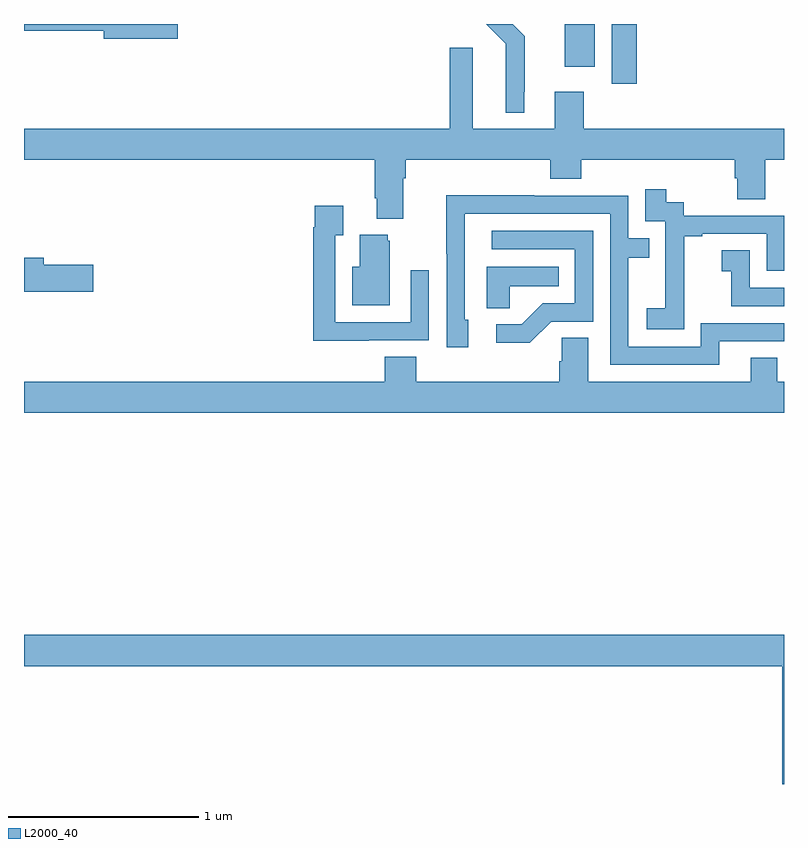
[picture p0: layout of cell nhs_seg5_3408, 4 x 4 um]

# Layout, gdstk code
import gdstk
lib = gdstk.Library(unit=1e-6, precision=1e-09)
def R(c, l, rs):  # rectangles x0, y0, x1, y1
    for r in rs: c.add(gdstk.rectangle(r[:2], r[2:], *l))
def P(c, l, *ps):  # polygons
    for p in ps: c.add(gdstk.Polygon(p, *l))
L2000_40 = (2000, 40)

nhs_seg5_3408 = lib.new_cell('nhs_seg5_3408')
R(nhs_seg5_3408, L2000_40, [(314.093,866.484,314.225,866.799), (313.847,866.574,314.005,866.799)])
P(nhs_seg5_3408, L2000_40, [(311.809,866.799),(311,866.799),(311,866.764),(311.42,866.764),(311.42,866.722),(311.809,866.722)],
  [(313.633,866.443),(313.636,866.443),(313.636,866.735),(313.572,866.799),(313.433,866.799),(313.536,866.696),(313.536,866.594),(313.535,866.594),(313.535,866.333),(313.633,866.333)],
  [(312.997,865.988),(313.01,865.988),(313.01,866.084),(313.769,866.084),(313.769,865.985),(313.934,865.985),(313.934,866.084),(314.741,866.084),(314.741,865.986),(314.753,865.986),(314.753,865.876),(314.901,865.876),(314.901,866.084),(315,866.084),(315,866.248),(313.946,866.248),(313.946,866.443),(313.793,866.443),(313.793,866.248),(313.363,866.248),(313.363,866.674),(313.241,866.674),(313.241,866.248),(311,866.248),(311,866.084),(312.845,866.084),(312.845,865.882),(312.857,865.882),(312.857,865.775),(312.997,865.775)],
  [(314.475,865.399),(314.474,865.399),(314.474,865.683),(314.569,865.683),(314.569,865.695),(314.91,865.695),(314.91,865.5),(315,865.5),(315,865.791),(314.472,865.791),(314.472,865.86),(314.38,865.86),(314.38,865.93),(314.271,865.93),(314.271,865.761),(314.376,865.761),(314.376,865.532),(314.375,865.532),(314.375,865.303),(314.277,865.303),(314.277,865.193),(314.475,865.193)],
  [(314.659,865.128),(315,865.128),(315,865.224),(314.562,865.224),(314.562,865.101),(314.181,865.101),(314.181,865.57),(314.291,865.57),(314.291,865.671),(314.181,865.671),(314.181,865.896),(313.685,865.896),(313.685,865.898),(313.222,865.898),(313.222,865.591),(313.224,865.591),(313.224,865.098),(313.339,865.098),(313.339,865.242),(313.32,865.242),(313.32,865.8),(314.085,865.8),(314.085,865.005),(314.659,865.005)],
  [(312.815,865.134),(313.131,865.134),(313.131,865.504),(313.035,865.504),(313.035,865.23),(312.639,865.23),(312.639,865.687),(312.679,865.687),(312.679,865.843),(312.531,865.843),(312.531,865.73),(312.523,865.73),(312.523,865.133),(312.815,865.133)],
  [(313.776,865.233),(313.995,865.233),(313.995,865.71),(313.461,865.71),(313.461,865.614),(313.899,865.614),(313.899,865.329),(313.73,865.329),(313.619,865.218),(313.485,865.218),(313.485,865.121),(313.663,865.121)],
  [(312.925,865.659),(312.914,865.659),(312.914,865.69),(312.767,865.69),(312.767,865.522),(312.728,865.522),(312.728,865.319),(312.925,865.319)],
  [(315,865.41),(314.82,865.41),(314.82,865.609),(314.673,865.609),(314.673,865.499),(314.722,865.499),(314.722,865.314),(315,865.314)],
  [(311.365,865.532),(311.104,865.532),(311.104,865.568),(311,865.568),(311,865.39),(311.365,865.39)],
  [(313.557,865.418),(313.814,865.418),(313.814,865.522),(313.436,865.522),(313.436,865.303),(313.557,865.303)],
  [(315,864.916),(314.964,864.916),(314.964,865.043),(314.825,865.043),(314.825,864.916),(313.969,864.916),(313.969,865.148),(313.83,865.148),(313.83,865.025),(313.817,865.025),(313.817,864.916),(313.064,864.916),(313.064,865.049),(312.899,865.049),(312.899,864.916),(311,864.916),(311,864.752),(315,864.752)],
  [(315,863.584),(311,863.584),(311,863.42),(314.99,863.42),(314.99,862.799),(315,862.799)])

lib.write_gds('nhs_seg5_3408.gds')
